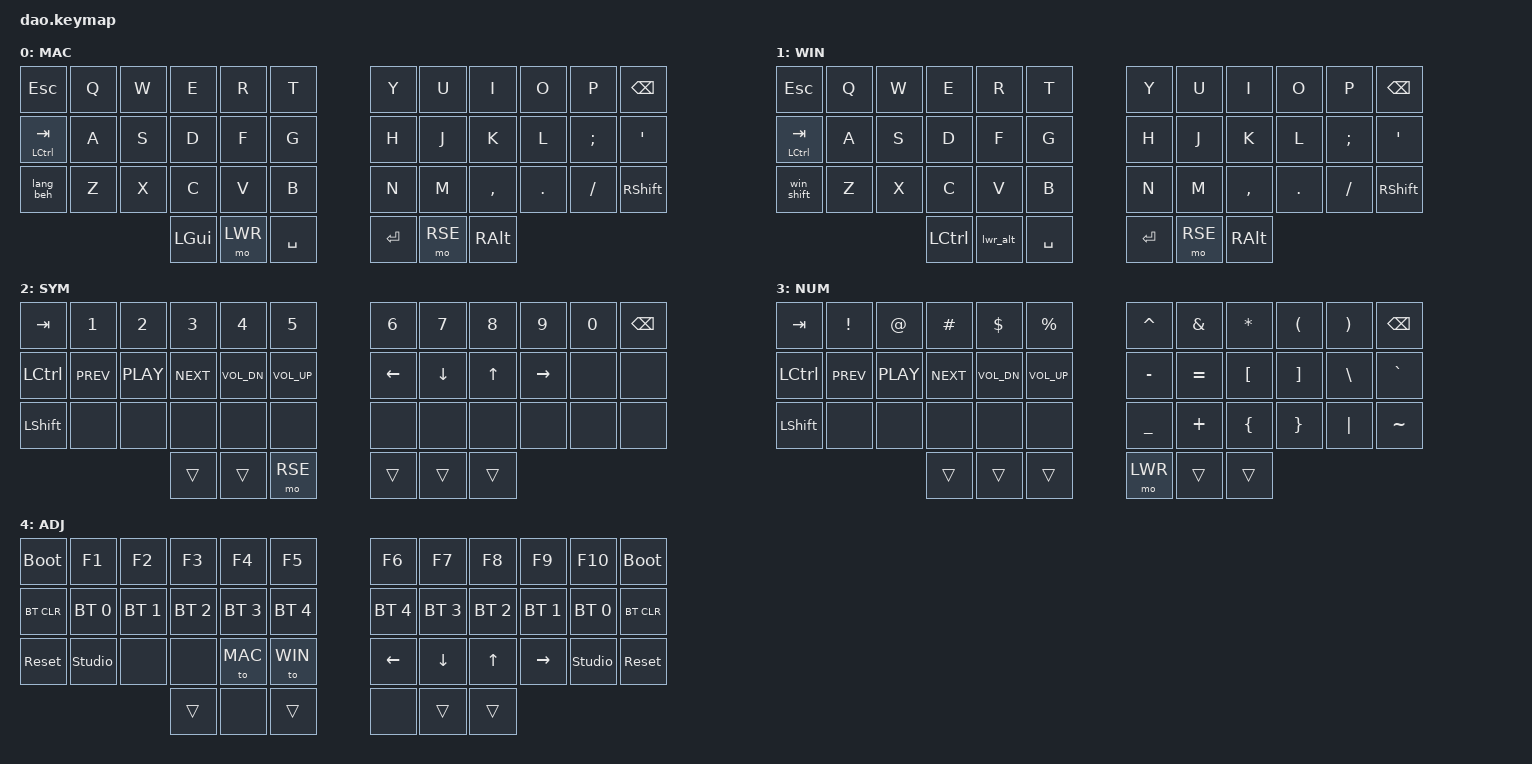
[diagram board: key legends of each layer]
#include <behaviors.dtsi>
#include <dt-bindings/zmk/bt.h>
#include <dt-bindings/zmk/keys.h>

#define MAC 0
#define WIN 1
#define LWR 2
#define RSE 3
#define ADJ 4

&mt {
    tapping-term-ms = <125>;
    flavor = "hold-preferred";
};

/ {
    conditional_layers {
        compatible = "zmk,conditional-layers";

        tri-layer {
            if-layers = <LWR RSE>;
            then-layer = <ADJ>;
        };
    };

    macros {
        lang_macro: lang_macro {
            compatible = "zmk,behavior-macro";
            label = "LANG_MACRO";
            #binding-cells = <0>;
            wait-ms = <30>;
            tap-ms = <40>;
            bindings =
                <&macro_press>,
                <&kp LGUI>,
                <&macro_tap>,
                <&kp SPACE>,
                <&macro_pause_for_release>,
                <&macro_release>,
                <&kp LGUI>;
        };
    };

    behaviors {
        lang_beh: lang_beh {
            compatible = "zmk,behavior-tap-dance";
            label = "LANG_BEH";
            #binding-cells = <0>;
            bindings = <&kp LSHIFT>, <&lang_macro>;

            tapping-term-ms = <350>;
        };

        win_shift: win_shift {
            compatible = "zmk,behavior-tap-dance";
            label = "WIN_SHIFT";
            #binding-cells = <0>;
            bindings = <&kp LSHIFT>, <&kp LGUI>;

            tapping-term-ms = <350>;
        };

        lwr_alt: lwr_alt {
            compatible = "zmk,behavior-tap-dance";
            label = "LWR_ALT";
            #binding-cells = <0>;
            bindings = <&mo LWR>, <&kp LALT>;

            tapping-term-ms = <350>;
        };
    };

    keymap {
        compatible = "zmk,keymap";

        mac_layer {
            display-name = "MAC";
            bindings = <
&kp ESCAPE     &kp Q  &kp W  &kp E     &kp R    &kp T      &kp Y      &kp U    &kp I      &kp O    &kp P     &kp BACKSPACE
&mt LCTRL TAB  &kp A  &kp S  &kp D     &kp F    &kp G      &kp H      &kp J    &kp K      &kp L    &kp SEMI  &kp SQT
&lang_beh      &kp Z  &kp X  &kp C     &kp V    &kp B      &kp N      &kp M    &kp COMMA  &kp DOT  &kp FSLH  &kp RIGHT_SHIFT
                             &kp LGUI  &mo LWR  &kp SPACE  &kp ENTER  &mo RSE  &kp RALT
            >;
        };

        win_layer {
            display-name = "WIN";
            bindings = <
&kp ESCAPE     &kp Q  &kp W  &kp E      &kp R       &kp T      &kp Y      &kp U    &kp I      &kp O    &kp P     &kp BACKSPACE
&mt LCTRL TAB  &kp A  &kp S  &kp D      &kp F       &kp G      &kp H      &kp J    &kp K      &kp L    &kp SEMI  &kp SQT
&win_shift     &kp Z  &kp X  &kp C      &kp V       &kp B      &kp N      &kp M    &kp COMMA  &kp DOT  &kp FSLH  &kp RIGHT_SHIFT
                             &kp LCTRL  &lwr_alt    &kp SPACE  &kp ENTER  &mo RSE  &kp RALT
            >;
        };

        lower_layer {
            display-name = "SYM";
            bindings = <
&kp TAB     &kp NUMBER_1  &kp NUMBER_2  &kp NUMBER_3  &kp NUMBER_4  &kp NUMBER_5  &kp NUMBER_6  &kp NUMBER_7  &kp NUMBER_8  &kp NUMBER_9  &kp NUMBER_0  &kp BACKSPACE
&kp LCTRL   &kp C_PREV    &kp C_PLAY    &kp C_NEXT    &kp C_VOL_DN  &kp C_VOL_UP  &kp LEFT      &kp DOWN      &kp UP        &kp RIGHT     &none         &none
&kp LSHIFT  &none         &none         &none         &none         &none         &none         &none         &none         &none         &none         &none
                                        &trans        &trans        &mo RSE       &trans        &trans        &trans
            >;
        };

        raise_layer {
            display-name = "NUM";
            bindings = <
&kp TAB     &kp EXCLAMATION  &kp AT_SIGN  &kp POUND   &kp DLLR      &kp PRCNT     &kp CARET       &kp AMPS   &kp STAR          &kp LPAR           &kp RPAR       &kp BACKSPACE
&kp LCTRL   &kp C_PREV       &kp C_PLAY   &kp C_NEXT  &kp C_VOL_DN  &kp C_VOL_UP  &kp MINUS       &kp EQUAL  &kp LEFT_BRACKET  &kp RIGHT_BRACKET  &kp BACKSLASH  &kp GRAVE
&kp LSHIFT  &none            &none        &none       &none         &none         &kp UNDERSCORE  &kp PLUS   &kp LEFT_BRACE    &kp RIGHT_BRACE    &kp PIPE       &kp TILDE
                                          &trans      &trans        &trans        &mo LWR         &trans     &trans
            >;
        };

        adjust_layer {
            display-name = "ADJ";
            bindings = <
&bootloader  &kp F1          &kp F2        &kp F3        &kp F4        &kp F5        &kp F6        &kp F7        &kp F8        &kp F9        &kp F10         &bootloader
&bt BT_CLR   &bt BT_SEL 0    &bt BT_SEL 1  &bt BT_SEL 2  &bt BT_SEL 3  &bt BT_SEL 4  &bt BT_SEL 4  &bt BT_SEL 3  &bt BT_SEL 2  &bt BT_SEL 1  &bt BT_SEL 0    &bt BT_CLR
&sys_reset   &studio_unlock  &none         &none         &to MAC       &to WIN       &kp LEFT      &kp DOWN      &kp UP        &kp RIGHT     &studio_unlock  &sys_reset
                                           &trans        &none         &trans        &none         &trans        &trans
            >;
        };
    };
};
